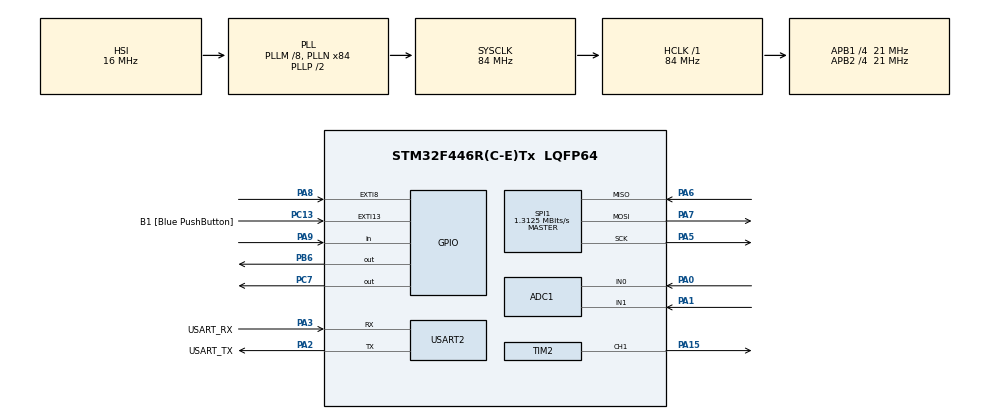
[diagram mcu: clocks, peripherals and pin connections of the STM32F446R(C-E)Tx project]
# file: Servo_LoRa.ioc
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ADC1.Channel-0\#ChannelRegularConversion=ADC_CHANNEL_0
ADC1.NbrOfConversionFlag=1
ADC1.Rank-0\#ChannelRegularConversion=1
ADC1.SamplingTime-0\#ChannelRegularConversion=ADC_SAMPLETIME_3CYCLES
ADC1.master=1
Mcu.Family=STM32F4
Mcu.Name=STM32F446R(C-E)Tx
Mcu.Package=LQFP64
NVIC.EXTI15_10_IRQn=true\:0\:0\:false\:false\:true\:true\:true\:true
NVIC.EXTI9_5_IRQn=true\:0\:0\:false\:false\:true\:true\:true\:true
NVIC.PriorityGroup=NVIC_PRIORITYGROUP_0
PA0-WKUP.Signal=ADCx_IN0
PA1.Signal=ADCx_IN1
PA13.GPIO_Label=TMS
PA13.Mode=Serial_Wire
PA13.Signal=SYS_JTMS-SWDIO
PA14.GPIO_Label=TCK
PA14.Mode=Serial_Wire
PA14.Signal=SYS_JTCK-SWCLK
PA15.Signal=S_TIM2_CH1_ETR
PA2.GPIO_Label=USART_TX
PA2.Mode=Asynchronous
PA2.Signal=USART2_TX
PA3.GPIO_Label=USART_RX
PA3.Mode=Asynchronous
PA3.Signal=USART2_RX
PA5.GPIO_PuPd=GPIO_PULLDOWN
PA5.Mode=Full_Duplex_Master
PA5.Signal=SPI1_SCK
PA6.GPIO_PuPd=GPIO_PULLDOWN
PA6.Mode=Full_Duplex_Master
PA6.Signal=SPI1_MISO
PA7.GPIO_PuPd=GPIO_PULLDOWN
PA7.Mode=Full_Duplex_Master
PA7.Signal=SPI1_MOSI
PA8.GPIO_PuPd=GPIO_NOPULL
PA8.Signal=GPXTI8
PA9.GPIO_PuPd=GPIO_NOPULL
PA9.Signal=GPIO_Input
PB3.GPIO_Label=SWO
PB3.Signal=SYS_JTDO-SWO
PB6.GPIO_Speed=GPIO_SPEED_FREQ_VERY_HIGH
PB6.PinState=GPIO_PIN_RESET
PB6.Signal=GPIO_Output
PC13.GPIO_Label=B1 [Blue PushButton]
PC13.GPIO_ModeDefaultEXTI=GPIO_MODE_IT_FALLING
PC13.Signal=GPXTI13
PC14-OSC32_IN.Mode=LSE-External-Oscillator
PC14-OSC32_IN.Signal=RCC_OSC32_IN
PC15-OSC32_OUT.Mode=LSE-External-Oscillator
PC15-OSC32_OUT.Signal=RCC_OSC32_OUT
PC7.GPIO_ModeDefaultOutputPP=GPIO_MODE_OUTPUT_OD
PC7.GPIO_PuPd=GPIO_NOPULL
PC7.GPIO_Speed=GPIO_SPEED_FREQ_MEDIUM
PC7.PinState=GPIO_PIN_RESET
PC7.Signal=GPIO_Output
PH0-OSC_IN.Mode=HSE-External-Oscillator
PH0-OSC_IN.Signal=RCC_OSC_IN
PH1-OSC_OUT.Mode=HSE-External-Oscillator
PH1-OSC_OUT.Signal=RCC_OSC_OUT
ProjectManager.HeapSize=0x200
ProjectManager.StackSize=0x400
ProjectManager.TargetToolchain=STM32CubeIDE
RCC.48MHZClocksFreq_Value=84000000
RCC.AHBFreq_Value=84000000
RCC.APB1CLKDivider=RCC_HCLK_DIV4
RCC.APB1Freq_Value=21000000
RCC.APB1TimFreq_Value=42000000
RCC.APB2CLKDivider=RCC_HCLK_DIV4
RCC.APB2Freq_Value=21000000
RCC.APB2TimFreq_Value=42000000
RCC.CortexFreq_Value=84000000
RCC.FLatency-AdvancedSettings=FLASH_LATENCY_2
RCC.HCLKFreq_Value=84000000
RCC.HSE_VALUE=8000000
RCC.HSI_VALUE=16000000
RCC.PLLM=8
RCC.PLLN=84
RCC.SYSCLKFreq_VALUE=84000000
RCC.SYSCLKSource=RCC_SYSCLKSOURCE_PLLCLK
RCC.USBFreq_Value=84000000
RCC.VCOOutputFreq_Value=168000000
SH.ADCx_IN0.0=ADC1_IN0,IN0
SH.ADCx_IN1.0=ADC1_IN1,IN1
SH.S_TIM2_CH1_ETR.0=TIM2_CH1,PWM Generation1 CH1
SPI1.BaudRatePrescaler=SPI_BAUDRATEPRESCALER_16
SPI1.CLKPhase=SPI_PHASE_1EDGE
SPI1.CLKPolarity=SPI_POLARITY_LOW
SPI1.CalculateBaudRate=1.3125 MBits/s
SPI1.DataSize=SPI_DATASIZE_8BIT
SPI1.Direction=SPI_DIRECTION_2LINES
SPI1.FirstBit=SPI_FIRSTBIT_MSB
SPI1.Mode=SPI_MODE_MASTER
SPI1.VirtualType=VM_MASTER
TIM2.Channel-PWM\ Generation1\ CH1=TIM_CHANNEL_1
TIM2.Period=20000-1
TIM2.Prescaler=42-1
USART2.VirtualMode=VM_ASYNC
VP_TIM1_VS_ClockSourceINT.Mode=Internal
VP_TIM2_VS_ClockSourceINT.Mode=Internal
board=NUCLEO-F446RE

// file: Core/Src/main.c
/* USER CODE BEGIN Header */
/**
 ******************************************************************************
 * @file           : main.c
 * @brief          : Main program body
 ******************************************************************************
 * @attention
 *
 * Copyright (c) 2024 STMicroelectronics.
 * All rights reserved.
 *
 * This software is licensed under terms that can be found in the LICENSE file
 * in the root directory of this software component.
 * If no LICENSE file comes with this software, it is provided AS-IS.
 ******************************************************************************
 */

//TODO: structure for radio
/* USER CODE END Header */
#include "main.h"

/* USER CODE BEGIN Includes */
#include "string.h"
#include "stdio.h"
#include "Degree90.h"
#include "Degree5.h"
#define DEBUG //for debug mode
#define WAIT_COUNTER 1000
static uint8_t offset = 0; // Statische Variable für den Offset
//#define LoRa
#define LightSensor

/* USER CODE END Includes */

/* USER CODE BEGIN PTD */
uint8_t txData_const = 0xC0;  // Beispiel: Opcode für GetStatus
uint8_t rxData_const = 0x00;  // Hier wird die Antwort gespeichert
char uart_buf[100];
int uart_buf_len;
uint8_t busy, nss, reset;
uint8_t rxStartBufferPointer;
uint8_t payloadLength;
uint8_t servo_angle = 0;

/* USER CODE END PTD */

/* USER CODE BEGIN PD */

void Erase_Flash(void) {
	FLASH_EraseInitTypeDef EraseInitStruct;
	uint32_t SectorError;

	// Unlock the Flash
	HAL_FLASH_Unlock();

	// Configure the erase operation
	EraseInitStruct.TypeErase = FLASH_TYPEERASE_SECTORS;
	EraseInitStruct.VoltageRange = FLASH_VOLTAGE_RANGE_3;
	EraseInitStruct.Sector = FLASH_SECTOR_0; // Specify sector to erase
	EraseInitStruct.NbSectors = 1;

	// Erase the sector
	if (HAL_FLASHEx_Erase(&EraseInitStruct, &SectorError) != HAL_OK) {
		// Handle error
	}

	// Lock the Flash
	HAL_FLASH_Lock();
}
/* USER CODE END PD */

/* USER CODE BEGIN PM */
//#define GND_CONTROL_PIN GPIO_PIN_1
//#define GND_CONTROL_PORT GPIOA
//
//void toggle_gnd(bool state) {
//    if (state) {
//        HAL_GPIO_WritePin(GND_CONTROL_PORT, GND_CONTROL_PIN, GPIO_PIN_SET); // GND einschalten
//    } else {
//        HAL_GPIO_WritePin(GND_CONTROL_PORT, GND_CONTROL_PIN, GPIO_PIN_RESET); // GND ausschalten
//    }
//}

/* USER CODE END PM */

ADC_HandleTypeDef hadc1;

SPI_HandleTypeDef hspi1;

TIM_HandleTypeDef htim1;
TIM_HandleTypeDef htim2;

UART_HandleTypeDef huart2;

/* USER CODE BEGIN PV */

void ResetChip(GPIO_TypeDef* GPIOx, uint16_t GPIO_Pin) {
	HAL_GPIO_WritePin(GPIOx, GPIO_Pin, GPIO_PIN_SET);
	HAL_Delay(20);
	HAL_GPIO_WritePin(GPIOx, GPIO_Pin, GPIO_PIN_RESET);
	HAL_Delay(100);
	HAL_GPIO_WritePin(GPIOx, GPIO_Pin, GPIO_PIN_SET);
	HAL_Delay(20);
}

void SelectChip(GPIO_TypeDef* GPIOx, uint16_t GPIO_Pin, GPIO_PinState state) {
	HAL_GPIO_WritePin(GPIOx, GPIO_Pin, state);
	HAL_Delay(2); // Falls notwendig
}
void SPI_TransmitReceiveWithDebug(SPI_HandleTypeDef* hspi, uint8_t* txData, uint8_t* rxData, uint16_t length, const char* debugMessage) {
	HAL_SPI_TransmitReceive(hspi, txData, rxData, length, HAL_MAX_DELAY);
	if (debugMessage) {
		HAL_UART_Transmit(&huart2, (uint8_t*)debugMessage, strlen(debugMessage), 100);
	}
}
/* USER CODE END PV */

void SystemClock_Config(void);
static void MX_GPIO_Init(void);
static void MX_USART2_UART_Init(void);
static void MX_SPI1_Init(void);
static void MX_TIM1_Init(void);
static void MX_ADC1_Init(void);
static void MX_TIM2_Init(void);

/* USER CODE BEGIN 0 */
uint8_t ProcessStatusByte(uint8_t* statusByte) {
	// Extrahiere die Bits 7:5 (Circuit Mode) und 4:2 (Command Status)
	uint8_t circuitMode = (*statusByte >> 5) & 0x07; // Maske 0x07 für 3 Bits
	uint8_t commandStatus = (*statusByte >> 2) & 0x07; // Maske 0x07 für 3 Bits

	// Debug-Ausgabe für UART
	char uart_buf[50];
	int uart_buf_len = sprintf(uart_buf, "Circuit Mode: %u, Command Status: %u\r\n", circuitMode, commandStatus);
	HAL_UART_Transmit(&huart2, (uint8_t *)uart_buf, uart_buf_len, 100);

	// Verarbeitung von Circuit Mode
	switch (circuitMode) {
	case 0x2:
		// STDBY_RC
		HAL_UART_Transmit(&huart2, (uint8_t *)"Mode: STDBY_RC\r\n", 17, 100);
		break;
	case 0x3:
		// STDBY_XOSC
		HAL_UART_Transmit(&huart2, (uint8_t *)"Mode: STDBY_XOSC\r\n", 19, 100);
		break;
	case 0x4:
		// FS
		HAL_UART_Transmit(&huart2, (uint8_t *)"Mode: FS\r\n", 10, 100);
		break;
	case 0x5:
		// Rx
		HAL_UART_Transmit(&huart2, (uint8_t *)"Mode: Rx\r\n", 10, 100);
		break;
	case 0x6:
		// Tx
		HAL_UART_Transmit(&huart2, (uint8_t *)"Mode: Tx\r\n", 10, 100);
		break;
	default:
		HAL_UART_Transmit(&huart2, (uint8_t *)"Mode: Unknown\r\n", 16, 100);

	}

	// Verarbeitung von Command Status
	switch (commandStatus) {
	case 0x1:
		HAL_UART_Transmit(&huart2, (uint8_t *)"Command Status: Success\r\n", 26, 100);
		break;
	case 0x2:
		HAL_UART_Transmit(&huart2, (uint8_t *)"Command Status: Data Available\r\n", 33, 100);
		break;
	case 0x3:
		HAL_UART_Transmit(&huart2, (uint8_t *)"Command Status: Timeout\r\n", 26, 100);
		break;
	case 0x4:
		HAL_UART_Transmit(&huart2, (uint8_t *)"Command Status: Error\r\n", 24, 100);
		break;
	case 0x5:
		HAL_UART_Transmit(&huart2, (uint8_t *)"Command Status: Failure\r\n", 26, 100);
		break;
	case 0x6:
		HAL_UART_Transmit(&huart2, (uint8_t *)"Command Status: Tx Done\r\n", 26, 100);
		break;
	default:
		HAL_UART_Transmit(&huart2, (uint8_t *)"Command Status: Unknown\r\n", 27, 100);
	}
	return circuitMode;
}

void SPI_WaitUntilReady(SPI_HandleTypeDef *hspi) {//TODO not good name, rename
	uint16_t counter = WAIT_COUNTER;
	while (HAL_GPIO_ReadPin(GPIOA, GPIO_PIN_9) == GPIO_PIN_SET) {
		busy=uint8_t(HAL_GPIO_ReadPin(GPIOA, GPIO_PIN_9));
		HAL_GPIO_WritePin(GPIOB, GPIO_PIN_6, GPIO_PIN_SET); // Select the chip
		nss = uint8_t(HAL_GPIO_ReadPin(GPIOB, GPIO_PIN_6));

		HAL_Delay(5);
		HAL_GPIO_WritePin(GPIOB, GPIO_PIN_6, GPIO_PIN_RESET); // Select the chip
		nss = uint8_t(HAL_GPIO_ReadPin(GPIOB, GPIO_PIN_6));
		HAL_Delay(5);
		//		if (--counter==0) {
		//			//TODO: save radiomodulstate to structure
		//			ResetChip(GPIOC, GPIO_PIN_7);
		//			//TODO: restore radio modul state from structure
		//			counter = WAIT_COUNTER;
		//		}

	}
	busy=uint8_t(HAL_GPIO_ReadPin(GPIOA, GPIO_PIN_9));

}

void SPI_WaitTransmit(SPI_HandleTypeDef *hspi) {
	uint16_t counter = WAIT_COUNTER;
	HAL_GPIO_WritePin(GPIOB, GPIO_PIN_6, GPIO_PIN_RESET); // Select the chip TODO names rename, vvesti counter

#ifdef DEBUG
	nss = uint8_t(HAL_GPIO_ReadPin(GPIOB, GPIO_PIN_6));
#endif

	while (HAL_GPIO_ReadPin(GPIOA, GPIO_PIN_9) != GPIO_PIN_SET) {
		//		if (--counter==0) {
		//			ResetChip(GPIOC, GPIO_PIN_7);
		//			counter = WAIT_COUNTER;
		//		}
#ifdef DEBUG
		busy=uint8_t(HAL_GPIO_ReadPin(GPIOA, GPIO_PIN_9));
#endif

		HAL_GPIO_WritePin(GPIOB, GPIO_PIN_6, GPIO_PIN_SET); // Select the chip
		HAL_Delay(20); // Small delay to ensure stability

#ifdef DEBUG
		nss = uint8_t(HAL_GPIO_ReadPin(GPIOB, GPIO_PIN_6));
#endif

		HAL_GPIO_WritePin(GPIOB, GPIO_PIN_6, GPIO_PIN_RESET); // Select the chip
		HAL_Delay(20); // Small delay to ensure stability

#ifdef DEBUG
		nss = uint8_t(HAL_GPIO_ReadPin(GPIOB, GPIO_PIN_6));
#endif

	}
#ifdef DEBUG

	busy=uint8_t(HAL_GPIO_ReadPin(GPIOA, GPIO_PIN_9));
#endif

	HAL_Delay(5); // Small delay to ensure stability

}
void GetStatus() {
	uint8_t command = 0xC0;  // Nur Low Byte wird verwendet
	uint8_t response = 0;

	// Sende 16-Bit-Datenrahmen (High Byte wird ignoriert)
	HAL_SPI_TransmitReceive(&hspi1, &command, &response, 1, HAL_MAX_DELAY);
	ProcessStatusByte(&response);
	// Extrahiere nur das Low Byte aus der Antwort

}

void SetStandby() {
	uint8_t command[2] = {0x80, 0x01};
	HAL_SPI_Transmit(&hspi1, (uint8_t*)command, 2, HAL_MAX_DELAY);

}

// Funktion zum Aktivieren des LoRa Modus
void setLoRaMode() {
	uint8_t tx[2] = {0x8A, 0x01}; // LoRa Mode aktivieren
	HAL_SPI_Transmit(&hspi1, tx, 2, HAL_MAX_DELAY);
	HAL_UART_Transmit(&huart2, (uint8_t *)"Set LoRa mode\r\n", 15, HAL_MAX_DELAY);
	HAL_Delay(5);

}
void getPacketType(SPI_HandleTypeDef* hspi) {
	//uint8_t txData;
	//*(uint32_t*)txData = 0x03 | 0x00 << 16; // LoRa mode
	uint8_t txData[3] = {0x03, 0x00, 0x00};  // Opcode = 0x03, NOP, NOP
	uint8_t rxData[3] = {0x00, 0x00, 0x00};

	// SPI-Übertragung und Empfang
	HAL_SPI_Transmit(&hspi1,txData, 3, HAL_MAX_DELAY);   // Lese die Antwort
	HAL_SPI_Receive(&hspi1, rxData, 3, HAL_MAX_DELAY);   // Lese die Antwort

	// SPI_TransmitReceiveWithDebug(hspi, txData[0], rxData, 3, "GetPacketType: ");
	// Der Pakettyp befindet sistatusch im dritten Byte (rxData[2])
	uint8_t packetType = rxData[2];

	// Debug-Ausgabe
	switch (packetType) {
	case 0x00:
		HAL_UART_Transmit(&huart2, (uint8_t *)"Packet Type: GFSK (0x00)\r\n", 30, 100);
		break;
	case 0x01:
		HAL_UART_Transmit(&huart2, (uint8_t *)"Packet Type: LoRa (0x01)\r\n", 30, 100);

		break;
	case 0x02:
		HAL_UART_Transmit(&huart2, (uint8_t *)"Packet Type: Ranging (0x02)\r\n", 30, 100);

		break;
	case 0x03:
		HAL_UART_Transmit(&huart2, (uint8_t *)"Packet Type: FLRC (0x03)\r\n", 30, 100);

		break;
	case 0x04:
		HAL_UART_Transmit(&huart2, (uint8_t *)"Packet Type: BLE (0x04)\r\n", 30, 100);

		break;
	default:
		HAL_UART_Transmit(&huart2, (uint8_t *)"Unknown Packet Type:", 20, 100);
		HAL_UART_Transmit(&huart2, &packetType, 1, 100);
		HAL_UART_Transmit(&huart2, (uint8_t *)"\r\n", 4, 100);

		break;
	}
}

// Funktion zum Setzen der Frequenz 0x86, 0xBC, 0x13, 0xC1
void setFrequency() {
	uint8_t tx[4] = {0x86, 0xB8, 0x9D, 0x89}; // Frequenzdaten
	uint8_t rx[4] = {0};
	SPI_TransmitReceiveWithDebug(&hspi1, tx, rx, 4, "Set Frequency\r\n");  // SPI mit Debugger
	HAL_Delay(10);

}

// Funktion zum Setzen der Basisadresse des Buffers
void setBufferBaseAddress() {
	uint8_t tx[3] = {0x8F, 0x80, 0x00}; // Basisadresse
	uint8_t rx[3] = {0};
	SPI_TransmitReceiveWithDebug(&hspi1, tx, rx, 3, "Set Buffer Base Address\r\n");  // SPI mit Debugger
	HAL_Delay(10);

}

// Funktion zum Setzen der Modulationsparameter
void setModulationParams() {
	uint8_t tx[4] = {0x8B, 0x70, 0x26, 0x01}; // Modulationsparameter
	uint8_t rx[4] = {0};
	SPI_TransmitReceiveWithDebug(&hspi1, tx, rx, 4, "Set Modulation Params\r\n");  // SPI mit Debugger
	HAL_Delay(10);
}

// Funktion zum Setzen der Paketparameter
void setPacketParams() {
	uint8_t tx[8] = {0x8C, 0x0C, 0x80, 0x01, 0x20, 0x40, 0x00, 0x00}; // Paketparameter
	uint8_t rx[8] = {0};
	SPI_TransmitReceiveWithDebug(&hspi1, tx, rx, 8, "Set Packet Params\r\n");  // SPI mit Debugger
	HAL_Delay(10);
}

// Funktion zum Setzen der IRQ-Parameter (DIO1, DIO2, DIO3) 0x8D, 0x40, 0x23, 0x00, 0x01, 0x00, 0x02, 0x40, 0x20
void setDioIrqParams() {
	uint8_t tx[9] = {0x8D, 0x40, 0x23, 0x00, 0x01, 0x00, 0x02, 0x40, 0x20};
	uint8_t rx[9] = {0};
	SPI_TransmitReceiveWithDebug(&hspi1, tx, rx, 9, "Set DIO IRQ Params\r\n");  // SPI mit Debugger
	HAL_Delay(10);
}

// Funktion zum Setzen der RX-Periode (Empfangsparameter)
void setRxPeriod() {
	uint8_t tx[4] = {0x82, 0x01, 0xFF, 0xFF}; // RX Periode
	uint8_t rx[4] = {0};
	SPI_TransmitReceiveWithDebug(&hspi1, tx, rx, 4, "Set RX Period\r\n");  // SPI mit Debugger
	HAL_Delay(10);
}

void DerTakt()
{
	HAL_GPIO_WritePin(GPIOB, GPIO_PIN_6, GPIO_PIN_SET);   // NSS auf HIGH
	nss = uint8_t(HAL_GPIO_ReadPin(GPIOB, GPIO_PIN_6));
	HAL_Delay(2);
	SPI_WaitUntilReady(&hspi1);
	HAL_Delay(2);
	SPI_WaitTransmit(&hspi1);

}
void GetPacketStatus(SPI_HandleTypeDef* hspi, UART_HandleTypeDef* huart) {
	uint8_t tx[2] = {0x1D, 0x00}; // Kommando: GetPacketStatus
	uint8_t rx[7] = {0}; // Antwortpuffer

	HAL_SPI_TransmitReceive(hspi, tx, rx, 7, HAL_MAX_DELAY);

	// SNR und RSSI auslesen
	int8_t snrPkt = (int8_t)rx[2];
	int8_t rssiPkt = (int8_t)rx[1] / -2;

	char uart_buf[100];
	int uart_buf_len = sprintf(uart_buf, "Packet Status - SNR: %d dB, RSSI: %d dBm\r\n", snrPkt / 4, rssiPkt);
	HAL_UART_Transmit(huart, (uint8_t*)uart_buf, uart_buf_len, HAL_MAX_DELAY);
}
void GetRxBufferStatus(SPI_HandleTypeDef* hspi, UART_HandleTypeDef* huart, uint8_t* payloadLengthRx, uint8_t* rxStartBufferPointer) {
	uint8_t tx[4] = {0x17, 0x00, 0x00, 0x00}; // Kommando: GetRxBufferStatus
	uint8_t rx[4] = {0x00, 0x00, 0x00, 0x00}; // Antwortpuffer

	HAL_SPI_TransmitReceive(hspi, tx, rx, 4, HAL_MAX_DELAY);

	//*payloadLengthRx = rx[2];
	*payloadLengthRx=1;
	*rxStartBufferPointer = rx[3];

	char uart_buf[100];
	int uart_buf_len = sprintf(uart_buf, "Buffer Status - Start: %d, Length: %d\r\n", *rxStartBufferPointer,*payloadLengthRx);
	HAL_UART_Transmit(huart, (uint8_t*)uart_buf, uart_buf_len, HAL_MAX_DELAY);
}

uint8_t ReadReceivedData(SPI_HandleTypeDef* hspi, UART_HandleTypeDef* huart, uint8_t payloadLength, uint8_t startBufferPointer) {
	uint8_t tx[3 + payloadLength]; // 3 Bytes für Opcode + Offset + NOPs für Payload
	uint8_t rx[3 + payloadLength]; // Empfangspuffer (Status + Daten)

	// Opcode und Offset setzen
	tx[0] = 0x1B;                // ReadBuffer Opcode
	tx[1] = startBufferPointer;  // Startadresse
	tx[2] = 0x00;                // NOP
	memset(&tx[3], 0x00, payloadLength); // Rest mit NOPs auffüllen

	// SPI-Übertragung
	HAL_SPI_TransmitReceive(hspi, tx, rx, 3 + payloadLength, HAL_MAX_DELAY);

	// Debug-Ausgabe der empfangenen Daten
	char buf[100];
	int uart_buf_len = sprintf(buf, "Received Data (Offset 0x%02X): ", startBufferPointer);
	HAL_UART_Transmit(huart, (uint8_t*)buf, uart_buf_len, HAL_MAX_DELAY);

	for (uint8_t i = 0; i < payloadLength; i++) {
		uart_buf_len = sprintf(buf, "%02X ", rx[3 + i]); // Daten beginnen ab Byte 3
		HAL_UART_Transmit(huart, (uint8_t*)buf, uart_buf_len, HAL_MAX_DELAY);
	}

	HAL_UART_Transmit(huart, (uint8_t*)"\r\n", 2, HAL_MAX_DELAY);

	// Rückgabe des Werts an Index 3
	return rx[3];
}

void ReadIrqStatus(SPI_HandleTypeDef* hspi, UART_HandleTypeDef* huart) {
	uint8_t tx[4] = {0x15, 0x00, 0x00, 0x00};  // Beispiel für SPI-Befehl zum Abrufen von IRQ-Status
	uint8_t rx[4] = {0};

	HAL_SPI_TransmitReceive(hspi, tx, rx, 4, HAL_MAX_DELAY);

	// Überprüfe den Inhalt des Empfangspuffers
	char uart_buf[100];
	int uart_buf_len = sprintf(uart_buf, "IRQ Status: ");
	for (int i = 0; i < 3; i++) {
		uart_buf_len += sprintf(uart_buf + uart_buf_len, "%02X ", rx[i]);
	}
	uart_buf_len += sprintf(uart_buf + uart_buf_len, "\r\n");
	HAL_UART_Transmit(huart, (uint8_t*)uart_buf, uart_buf_len, HAL_MAX_DELAY);
}
uint8_t RX_BitRateTest(SPI_HandleTypeDef* hspi, UART_HandleTypeDef* huart) {
	uint8_t tx[4] = {0x15, 0x00, 0x00, 0x00};
	uint8_t rx[4] = {0x00, 0x00, 0x00, 0x00};

	uint8_t data = 0;

	// Debug-Ausgabe
	uint8_t uart_buf[100];
	int uart_buf_len = sprintf((char*)uart_buf, "SX1280 RX Bit Rate Test (Single Operation)\r\n");
	HAL_UART_Transmit(huart, uart_buf, uart_buf_len, HAL_MAX_DELAY);

	// Warte auf IRQ-Status (rx[3] == 2)
	int i = 0;
	while (rx[3] != 2) {
		HAL_SPI_TransmitReceive(hspi, tx, rx, 4, HAL_MAX_DELAY);
		DerTakt();

		// Debug-Ausgabe für den Interrupt-Status
		uart_buf_len = sprintf((char*)uart_buf, "Interrupt Status [%d]: %0x, %0x\r\n", i++, rx[2], rx[3]);
		HAL_UART_Transmit(huart, uart_buf, uart_buf_len, HAL_MAX_DELAY);

		//        tx[0] = 0x97;  // ClrIrqStatus
		//        tx[1] = 0xFF;
		//        tx[2] = 0xFF;
		//        HAL_SPI_TransmitReceive(hspi, tx, rx, 3, HAL_MAX_DELAY);
		//        DerTakt();
		HAL_Delay(100);  // Kleine Verzögerung für Stabilität

	}
	DerTakt();

	// Paketstatus abrufen
	GetPacketStatus(hspi, huart);
	DerTakt();

	// RX-Buffer-Status abrufen
	GetRxBufferStatus(hspi, huart, &payloadLength, &rxStartBufferPointer);
	DerTakt();

	// Empfangene Daten lesen
	data = ReadReceivedData(hspi, huart, payloadLength, rxStartBufferPointer);
	DerTakt();

	// IRQ zurücksetzen
	tx[0] = 0x97;  // ClrIrqStatus
	tx[1] = 0xFF;
	tx[2] = 0xFF;
	HAL_SPI_TransmitReceive(hspi, tx, rx, 3, HAL_MAX_DELAY);
	DerTakt();

	// Empfangene Daten zurückgeben
	return data;
}

/* USER CODE END 0 */

int main(void)
{

  /* USER CODE BEGIN 1 */
	//Erase_Flash();
  /* USER CODE END 1 */

  /* MCU Configuration--------------------------------------------------------*/

  /* Reset of all peripherals, Initializes the Flash interface and the Systick. */
  HAL_Init();

  /* Configure the system clock */
  SystemClock_Config();

  /* Initialize all configured peripherals */
  MX_GPIO_Init();
  MX_USART2_UART_Init();
  MX_SPI1_Init();
  MX_TIM1_Init();
  MX_ADC1_Init();
  MX_TIM2_Init();
  /* USER CODE BEGIN 2 */
	HAL_TIM_PWM_Start(&htim2, TIM_CHANNEL_1);

	Degree5 degree5Controller;
	Degree5_Init(&degree5Controller, &hadc1, &htim2, &huart2);
	HAL_Delay(1000);

	HAL_TIM_Base_Start(&htim1);

#ifdef LoRa
	// Reset Chip
	ResetChip(GPIOC, GPIO_PIN_7);
	HAL_Delay(5);

	/*=======================================================================*/
	//NSSNSSNSSNSSNSSNSSNSSNSSNSSNSSNSSNSSNSSNSS
	/*=======================================================================*/

	// NSS Test
	SelectChip(GPIOB, GPIO_PIN_6, GPIO_PIN_SET);
	nss = uint8_t(HAL_GPIO_ReadPin(GPIOB, GPIO_PIN_6));//TODO: make function

	HAL_Delay(5);

	SelectChip(GPIOB, GPIO_PIN_6, GPIO_PIN_RESET);
	nss = uint8_t(HAL_GPIO_ReadPin(GPIOB, GPIO_PIN_6));

	HAL_Delay(5);

	SelectChip(GPIOB, GPIO_PIN_6, GPIO_PIN_SET);
	nss = uint8_t(HAL_GPIO_ReadPin(GPIOB, GPIO_PIN_6));

	SPI_WaitTransmit(&hspi1);

	SetStandby();
	DerTakt();

#endif
  /* USER CODE END 2 */

  /* Infinite loop */
  /* USER CODE BEGIN WHILE */
	while (1)
	{

#ifdef LoRa

		GetStatus();
		DerTakt();

		setLoRaMode();
		DerTakt();

		getPacketType(&hspi1);
		DerTakt();

		setFrequency();
		DerTakt();

		setBufferBaseAddress(); // Basisadresse setzen
		DerTakt();

		setModulationParams();  // Modulationsparameter setzen
		DerTakt();

		setPacketParams();
		DerTakt();

		// Paketparameter setzen
		setDioIrqParams();      // IRQ Parameter setzen
		DerTakt();

		setRxPeriod();          // RX Periode setzen
		DerTakt();
		servo_angle=RX_BitRateTest(&hspi1, &huart2);
		Degree5_SetServoAngle(&degree5Controller, servo_angle);
		HAL_Delay(5000); // Wiederhole nach 1 Sekunde
#endif
#ifdef LightSensor

		Degree5_ReadADCAndControlServo(&degree5Controller);
#endif

    /* USER CODE END WHILE */

	}
}

void SystemClock_Config(void)
{
  RCC_OscInitTypeDef RCC_OscInitStruct = {0};
  RCC_ClkInitTypeDef RCC_ClkInitStruct = {0};

  /** Configure the main internal regulator output voltage
  */
  __HAL_RCC_PWR_CLK_ENABLE();
  __HAL_PWR_VOLTAGESCALING_CONFIG(PWR_REGULATOR_VOLTAGE_SCALE3);

  /** Initializes the RCC Oscillators according to the specified parameters
  * in the RCC_OscInitTypeDef structure.
  */
  RCC_OscInitStruct.OscillatorType = RCC_OSCILLATORTYPE_HSI;
  RCC_OscInitStruct.HSIState = RCC_HSI_ON;
  RCC_OscInitStruct.HSICalibrationValue = RCC_HSICALIBRATION_DEFAULT;
  RCC_OscInitStruct.PLL.PLLState = RCC_PLL_ON;
  RCC_OscInitStruct.PLL.PLLSource = RCC_PLLSOURCE_HSI;
  RCC_OscInitStruct.PLL.PLLM = 8;
  RCC_OscInitStruct.PLL.PLLN = 84;
  RCC_OscInitStruct.PLL.PLLP = RCC_PLLP_DIV2;
  RCC_OscInitStruct.PLL.PLLQ = 2;
  RCC_OscInitStruct.PLL.PLLR = 2;
  if (HAL_RCC_OscConfig(&RCC_OscInitStruct) != HAL_OK)
  {
    Error_Handler();
  }

  /** Initializes the CPU, AHB and APB buses clocks
  */
  RCC_ClkInitStruct.ClockType = RCC_CLOCKTYPE_HCLK|RCC_CLOCKTYPE_SYSCLK
                              |RCC_CLOCKTYPE_PCLK1|RCC_CLOCKTYPE_PCLK2;
  RCC_ClkInitStruct.SYSCLKSource = RCC_SYSCLKSOURCE_PLLCLK;
  RCC_ClkInitStruct.AHBCLKDivider = RCC_SYSCLK_DIV1;
  RCC_ClkInitStruct.APB1CLKDivider = RCC_HCLK_DIV4;
  RCC_ClkInitStruct.APB2CLKDivider = RCC_HCLK_DIV4;

  if (HAL_RCC_ClockConfig(&RCC_ClkInitStruct, FLASH_LATENCY_2) != HAL_OK)
  {
    Error_Handler();
  }
}

static void MX_ADC1_Init(void)
{

  ADC_ChannelConfTypeDef sConfig = {0};

  /** Configure the global features of the ADC (Clock, Resolution, Data Alignment and number of conversion)
  */
  hadc1.Instance = ADC1;
  hadc1.Init.ClockPrescaler = ADC_CLOCK_SYNC_PCLK_DIV2;
  hadc1.Init.Resolution = ADC_RESOLUTION_12B;
  hadc1.Init.ScanConvMode = DISABLE;
  hadc1.Init.ContinuousConvMode = DISABLE;
  hadc1.Init.DiscontinuousConvMode = DISABLE;
  hadc1.Init.ExternalTrigConvEdge = ADC_EXTERNALTRIGCONVEDGE_NONE;
  hadc1.Init.ExternalTrigConv = ADC_SOFTWARE_START;
  hadc1.Init.DataAlign = ADC_DATAALIGN_RIGHT;
  hadc1.Init.NbrOfConversion = 1;
  hadc1.Init.DMAContinuousRequests = DISABLE;
  hadc1.Init.EOCSelection = ADC_EOC_SINGLE_CONV;
  if (HAL_ADC_Init(&hadc1) != HAL_OK)
  {
    Error_Handler();
  }

  /** Configure for the selected ADC regular channel its corresponding rank in the sequencer and its sample time.
  */
  sConfig.Channel = ADC_CHANNEL_0;
  sConfig.Rank = 1;
  sConfig.SamplingTime = ADC_SAMPLETIME_3CYCLES;
  if (HAL_ADC_ConfigChannel(&hadc1, &sConfig) != HAL_OK)
  {
    Error_Handler();
  }

}

static void MX_SPI1_Init(void)
{

  /* SPI1 parameter configuration*/
  hspi1.Instance = SPI1;
  hspi1.Init.Mode = SPI_MODE_MASTER;
  hspi1.Init.Direction = SPI_DIRECTION_2LINES;
  hspi1.Init.DataSize = SPI_DATASIZE_8BIT;
  hspi1.Init.CLKPolarity = SPI_POLARITY_LOW;
  hspi1.Init.CLKPhase = SPI_PHASE_1EDGE;
  hspi1.Init.NSS = SPI_NSS_SOFT;
  hspi1.Init.BaudRatePrescaler = SPI_BAUDRATEPRESCALER_16;
  hspi1.Init.FirstBit = SPI_FIRSTBIT_MSB;
  hspi1.Init.TIMode = SPI_TIMODE_DISABLE;
  hspi1.Init.CRCCalculation = SPI_CRCCALCULATION_DISABLE;
  hspi1.Init.CRCPolynomial = 10;
  if (HAL_SPI_Init(&hspi1) != HAL_OK)
  {
    Error_Handler();
  }

}

static void MX_TIM1_Init(void)
{

  TIM_ClockConfigTypeDef sClockSourceConfig = {0};
  TIM_MasterConfigTypeDef sMasterConfig = {0};

  htim1.Instance = TIM1;
  htim1.Init.Prescaler = 0;
  htim1.Init.CounterMode = TIM_COUNTERMODE_UP;
  htim1.Init.Period = 65535;
  htim1.Init.ClockDivision = TIM_CLOCKDIVISION_DIV1;
  htim1.Init.RepetitionCounter = 0;
  htim1.Init.AutoReloadPreload = TIM_AUTORELOAD_PRELOAD_DISABLE;
  if (HAL_TIM_Base_Init(&htim1) != HAL_OK)
  {
    Error_Handler();
  }
  sClockSourceConfig.ClockSource = TIM_CLOCKSOURCE_INTERNAL;
  if (HAL_TIM_ConfigClockSource(&htim1, &sClockSourceConfig) != HAL_OK)
  {
    Error_Handler();
  }
  sMasterConfig.MasterOutputTrigger = TIM_TRGO_RESET;
  sMasterConfig.MasterSlaveMode = TIM_MASTERSLAVEMODE_DISABLE;
  if (HAL_TIMEx_MasterConfigSynchronization(&htim1, &sMasterConfig) != HAL_OK)
  {
    Error_Handler();
  }

}

static void MX_TIM2_Init(void)
{

  TIM_ClockConfigTypeDef sClockSourceConfig = {0};
  TIM_MasterConfigTypeDef sMasterConfig = {0};
  TIM_OC_InitTypeDef sConfigOC = {0};

  htim2.Instance = TIM2;
  htim2.Init.Prescaler = 42-1;
  htim2.Init.CounterMode = TIM_COUNTERMODE_UP;
  htim2.Init.Period = 20000-1;
  htim2.Init.ClockDivision = TIM_CLOCKDIVISION_DIV1;
  htim2.Init.AutoReloadPreload = TIM_AUTORELOAD_PRELOAD_DISABLE;
  if (HAL_TIM_Base_Init(&htim2) != HAL_OK)
  {
    Error_Handler();
  }
  sClockSourceConfig.ClockSource = TIM_CLOCKSOURCE_INTERNAL;
  if (HAL_TIM_ConfigClockSource(&htim2, &sClockSourceConfig) != HAL_OK)
  {
    Error_Handler();
  }
  if (HAL_TIM_PWM_Init(&htim2) != HAL_OK)
  {
    Error_Handler();
  }
  sMasterConfig.MasterOutputTrigger = TIM_TRGO_RESET;
  sMasterConfig.MasterSlaveMode = TIM_MASTERSLAVEMODE_DISABLE;
  if (HAL_TIMEx_MasterConfigSynchronization(&htim2, &sMasterConfig) != HAL_OK)
  {
    Error_Handler();
  }
  sConfigOC.OCMode = TIM_OCMODE_PWM1;
  sConfigOC.Pulse = 0;
  sConfigOC.OCPolarity = TIM_OCPOLARITY_HIGH;
  sConfigOC.OCFastMode = TIM_OCFAST_DISABLE;
  if (HAL_TIM_PWM_ConfigChannel(&htim2, &sConfigOC, TIM_CHANNEL_1) != HAL_OK)
  {
    Error_Handler();
  }
  HAL_TIM_MspPostInit(&htim2);

}

static void MX_USART2_UART_Init(void)
{

  huart2.Instance = USART2;
  huart2.Init.BaudRate = 115200;
  huart2.Init.WordLength = UART_WORDLENGTH_8B;
  huart2.Init.StopBits = UART_STOPBITS_1;
  huart2.Init.Parity = UART_PARITY_NONE;
  huart2.Init.Mode = UART_MODE_TX_RX;
  huart2.Init.HwFlowCtl = UART_HWCONTROL_NONE;
  huart2.Init.OverSampling = UART_OVERSAMPLING_16;
  if (HAL_UART_Init(&huart2) != HAL_OK)
  {
    Error_Handler();
  }

}

static void MX_GPIO_Init(void)
{
  GPIO_InitTypeDef GPIO_InitStruct = {0};

  /* GPIO Ports Clock Enable */
  __HAL_RCC_GPIOC_CLK_ENABLE();
  __HAL_RCC_GPIOH_CLK_ENABLE();
  __HAL_RCC_GPIOA_CLK_ENABLE();
  __HAL_RCC_GPIOB_CLK_ENABLE();

  /*Configure GPIO pin Output Level */
  HAL_GPIO_WritePin(GPIOC, GPIO_PIN_7, GPIO_PIN_RESET);

  /*Configure GPIO pin Output Level */
  HAL_GPIO_WritePin(GPIOB, GPIO_PIN_6, GPIO_PIN_RESET);

  /*Configure GPIO pin : B1_Pin */
  GPIO_InitStruct.Pin = B1_Pin;
  GPIO_InitStruct.Mode = GPIO_MODE_IT_FALLING;
  GPIO_InitStruct.Pull = GPIO_NOPULL;
  HAL_GPIO_Init(B1_GPIO_Port, &GPIO_InitStruct);

  /*Configure GPIO pin : PC7 */
  GPIO_InitStruct.Pin = GPIO_PIN_7;
  GPIO_InitStruct.Mode = GPIO_MODE_OUTPUT_OD;
  GPIO_InitStruct.Pull = GPIO_NOPULL;
  GPIO_InitStruct.Speed = GPIO_SPEED_FREQ_MEDIUM;
  HAL_GPIO_Init(GPIOC, &GPIO_InitStruct);

  /*Configure GPIO pin : PA8 */
  GPIO_InitStruct.Pin = GPIO_PIN_8;
  GPIO_InitStruct.Mode = GPIO_MODE_IT_RISING;
  GPIO_InitStruct.Pull = GPIO_NOPULL;
  HAL_GPIO_Init(GPIOA, &GPIO_InitStruct);

  /*Configure GPIO pin : PA9 */
  GPIO_InitStruct.Pin = GPIO_PIN_9;
  GPIO_InitStruct.Mode = GPIO_MODE_INPUT;
  GPIO_InitStruct.Pull = GPIO_NOPULL;
  HAL_GPIO_Init(GPIOA, &GPIO_InitStruct);

  /*Configure GPIO pin : PB6 */
  GPIO_InitStruct.Pin = GPIO_PIN_6;
  GPIO_InitStruct.Mode = GPIO_MODE_OUTPUT_PP;
  GPIO_InitStruct.Pull = GPIO_NOPULL;
  GPIO_InitStruct.Speed = GPIO_SPEED_FREQ_VERY_HIGH;
  HAL_GPIO_Init(GPIOB, &GPIO_InitStruct);

  /* EXTI interrupt init*/
  HAL_NVIC_SetPriority(EXTI9_5_IRQn, 0, 0);
  HAL_NVIC_EnableIRQ(EXTI9_5_IRQn);

  HAL_NVIC_SetPriority(EXTI15_10_IRQn, 0, 0);
  HAL_NVIC_EnableIRQ(EXTI15_10_IRQn);

/* USER CODE BEGIN MX_GPIO_Init_2 */
	HAL_GPIO_WritePin(GPIOB, GPIO_PIN_12, GPIO_PIN_SET); // CS auf High
	HAL_NVIC_SetPriority(EXTI9_5_IRQn, 0, 0);  // Set priority
	HAL_NVIC_EnableIRQ(EXTI9_5_IRQn);           // Enable the IRQ line for EXTI
/* USER CODE END MX_GPIO_Init_2 */
}

/* USER CODE BEGIN 4 */
void processReceivedData(uint8_t *data) {
	uint8_t uart_buf[100];
	int uart_buf_len = sprintf((char*)uart_buf, "Empfangene Daten: ");
	for (int i = 0; i < 11; i++) {
		uart_buf_len += sprintf((char*)uart_buf + uart_buf_len, "%02X ", data[i]);
	}
	uart_buf_len += sprintf((char*)uart_buf + uart_buf_len, "\r\n");
	HAL_UART_Transmit(&huart2, uart_buf, uart_buf_len, HAL_MAX_DELAY);  // Sende an UART
}
void handleReceivedPacket() {
	uint8_t rxBuffer[11];  // Puffer für empfangene Daten
	uint8_t tx[11] = {0};  // Befehl zum Abrufen der empfangenen Daten

	// Sende ein Kommando an den SX1280, um die empfangenen Daten auszulesen
	DerTakt();
	HAL_SPI_TransmitReceive(&hspi1, tx, rxBuffer, 11, HAL_MAX_DELAY);

	// Verarbeite die empfangenen Daten, z. B. durch Ausgeben auf UART
	processReceivedData(rxBuffer);
}

void EXTI9_5_IRQHandler(void) {
	// Prüfen, ob der Interrupt durch DIO1 ausgelöst wurde
	if (__HAL_GPIO_EXTI_GET_IT(GPIO_PIN_8) != RESET) {
		__HAL_GPIO_EXTI_CLEAR_IT(GPIO_PIN_8);  // Lösche das Interrupt-Flag für den Pin

		// Event-Handler, z. B. Empfang von Daten vom SX1280
		handleReceivedPacket();
	}
}
/* USER CODE END 4 */

void Error_Handler(void)
{
	__disable_irq();
	while (1)
	{
	}
}
